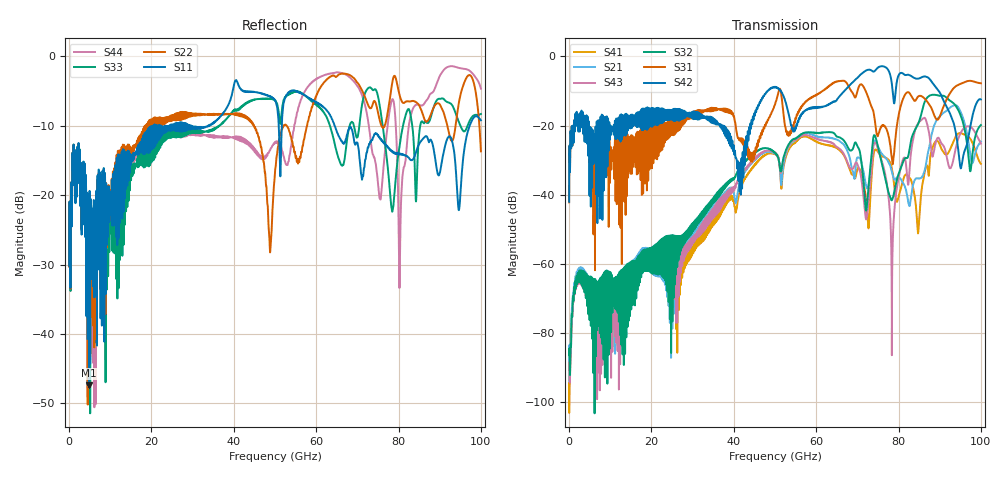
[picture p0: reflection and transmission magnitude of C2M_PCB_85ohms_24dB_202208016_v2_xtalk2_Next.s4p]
! Info: Touchstone file created by Circ.  Input file=Intel_C2M_200G_9p5in_202208016_staggered.circ
# Hz S RI R 50
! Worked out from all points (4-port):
!   10000 points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, 10 MHz to 100 GHz, reference 50 ohm
!   strongest paths, dB at 10 MHz, 25.01 GHz, 50.01 GHz, 75.01 GHz, 100 GHz:
!     S42: -42.0, -18.3, -9.0, -3.3, -12.5
!     S31: -42.2, -22.7, -14.0, -22.9, -7.8
!     S32: -84.6, -55.4, -28.0, -26.1, -19.9
!     S43: -88.5, -55.7, -28.0, -26.7, -25.2
!     S21: -93.9, -58.6, -28.2, -26.0, -24.6
!     S41: -92.2, -57.7, -28.3, -27.6, -31.1
!   lowest |S11| = -47.4 dB at 4.84 GHz (marker M1), VSWR 1.01, Z = 50.2 - j0.367 ohm
!   |S11| at or under -10 dB: start of sweep to 20.43 GHz; 29.7 GHz to 33.78 GHz (4.08 GHz wide, 12.9 % of centre); 64.51 GHz to 97.25 GHz (32.74 GHz wide, 40.5 % of centre)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
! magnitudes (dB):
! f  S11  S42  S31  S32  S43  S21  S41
! 10 MHz  -30.2  -42.0  -42.2  -84.6  -88.5  -93.9  -92.2
! 4.84 GHz  -47.4  -19.5  -20.7  -63.8  -66.8  -63.9  -66.2
! 56.57 GHz  -5.4  -16.7  -14.2  -22.4  -23.0  -22.5  -23.3
! 74.52 GHz  -11.1  -3.9  -21.0  -23.8  -25.2  -24.6  -27.0
! 78.43 GHz  -13.8  -8.4  -29.9  -41.5  -66.0  -33.6  -32.7
! 85.16 GHz  -12.4  -6.3  -11.4  -18.3  -18.8  -35.2  -44.2
! 100 GHz  -9.2  -12.5  -7.8  -19.9  -25.2  -24.6  -31.1
